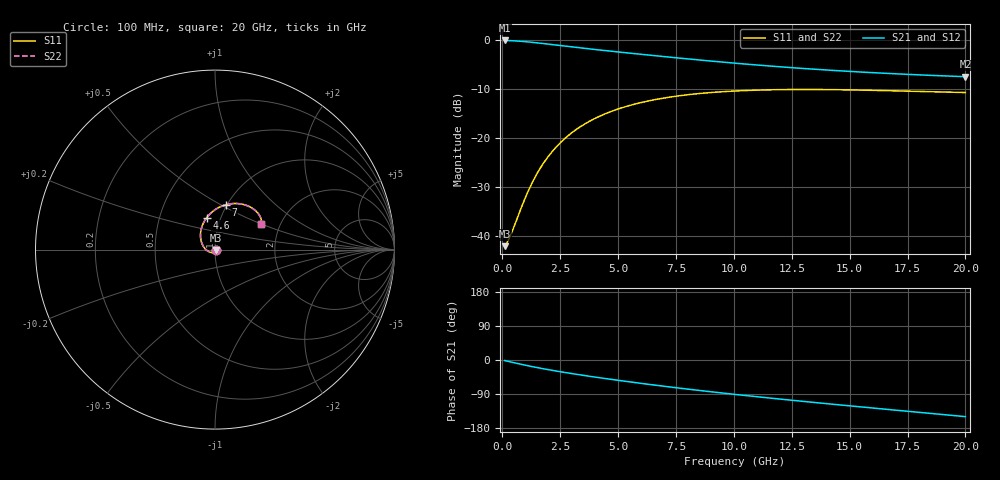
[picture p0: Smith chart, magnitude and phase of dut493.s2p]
! Touchstone file exported from HFSS 2024.1.0
!  File:  C:/UserFiles/LocalFiles/RDL_TSV_Batchsim/temp_RDL_TSV_493_1779735319.aedt
!  Generated:  03:11:55 AM May 26, 2026
!  Design:  RDL_TSV
!  Project:  temp_RDL_TSV_493_1779735319
!  Setup:  Setup1
!  Solution:  Sweep
! Variables:
!  dtsv = 9.4um
!  hbump = 3um
!  htsv = 86.54um
!  ldown = 138.25um
!  lrdl = 365.56um
!  p = 40
!  p1 = 53.95um
!  rhole = 10um
!  subl = 1876.99um
!  t = 450um
!  tdown = 3.84um
!  trdl = 4.27um
!  viad = 10um
!  wdown = 22.58um
!  wrdl = 24.91um
!  xbump = 18um
# GHz S MA R 50.000000
! Terminal data exported
! Port[1] = TM1_1_T1
! Port[2] = TM1_4_T1
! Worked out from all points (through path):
!   200 points, 100 MHz to 20 GHz, reference 50 ohm
!   highest |S21| = -0.07 dB at 100 MHz (marker M1); lowest = -7.5 dB at 20 GHz (marker M2)
!   group delay of S21, straight-line fit = 19.5 ps
!   lowest |S11| = -42.0 dB at 100 MHz (marker M3), VSWR 1.02, Z = 50.8 - j0.24 ohm
!   |S11| at or under -10 dB: start of sweep to end of sweep
!   |S22| runs from -42.0 to -10.1 dB; largest |S21 - S12| = 1e-14
!   S11 on the Smith chart (normalised r, x): 100 MHz: 1.02, -0.00; 4.6 GHz: 0.86, +0.31; 7 GHz: 0.99, +0.53; 20 GHz: 1.59, +0.50
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0.1  0.007933 -17.4  0.9918 -1.5  0.9918 -1.5  0.007933 -17.4
! Gamma 0 0 0 0
! Port Impedance 50 0 50 0
0.2  0.008585 -35.2  0.9905 -2.9  0.9905 -2.9  0.008586 -35.2
0.4  0.01082 -69.4  0.9863 -5.7  0.9863 -5.7  0.01082 -69.4
0.9  0.02184 -130.5  0.9687 -12.5  0.9687 -12.5  0.02183 -130.4
1.2  0.03178 -153.9  0.9542 -16.3  0.9542 -16.3  0.03176 -153.8
1.4  0.03946 -166.2  0.9434 -18.8  0.9434 -18.8  0.03943 -166.2
1.7  0.05215 178.5  0.9263 -22.3  0.9263 -22.3  0.0521 178.5
2.1  0.0705 162.2  0.903 -26.7  0.903 -26.7  0.07042 162.2
2.5  0.08963 149.0  0.88 -30.9  0.88 -30.9  0.08951 149.0
3  0.1136 135.5  0.8525 -35.8  0.8525 -35.8  0.1135 135.5
3.5  0.1369 124.2  0.8266 -40.5  0.8266 -40.5  0.1367 124.3
4  0.159 114.7  0.8023 -45.0  0.8023 -45.0  0.1587 114.7
4.6  0.1834 104.8  0.7747 -50.2  0.7747 -50.2  0.1832 104.8
5.6  0.2189 91.3  0.7322 -58.5  0.7322 -58.5  0.2185 91.2
6.8  0.2525 78.3  0.6856 -67.9  0.6856 -67.9  0.2521 78.3
7  0.2572 76.4  0.6783 -69.4  0.6783 -69.4  0.2568 76.4
8.5  0.2853 64.2  0.6272 -80.3  0.6272 -80.3  0.2849 64.1
10.1  0.3033 54.0  0.5803 -91.2  0.5803 -91.2  0.3028 54.0
11.7  0.3119 46.1  0.5408 -101.3  0.5408 -101.3  0.3114 46.1
13.4  0.3138 39.7  0.5062 -111.6  0.5062 -111.6  0.3133 39.6
16.7  0.305 32.0  0.4567 -130.8  0.4567 -130.8  0.3045 31.9
20  0.2921 29.5  0.4236 -149.4  0.4236 -149.4  0.2917 29.4
